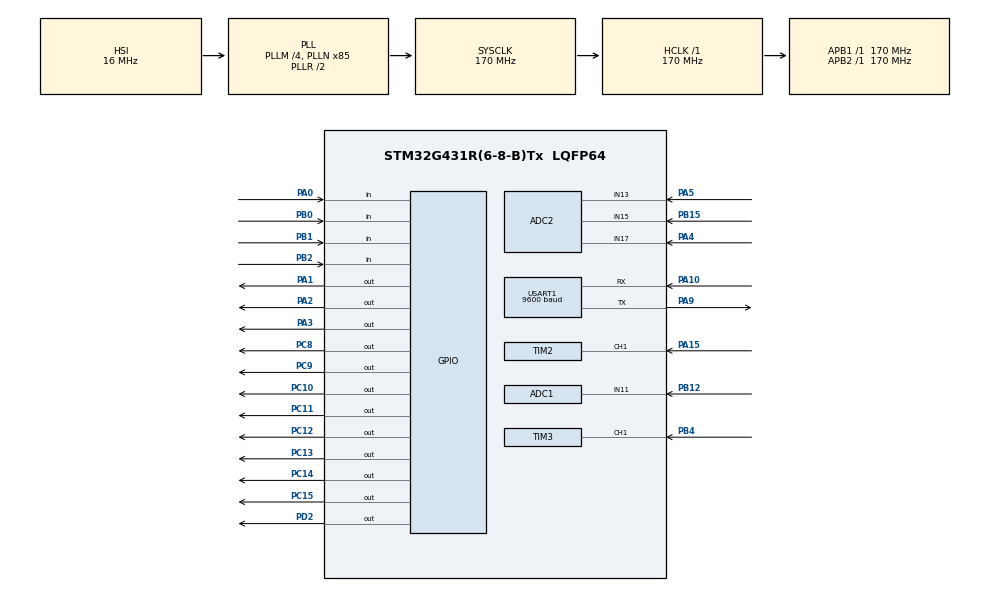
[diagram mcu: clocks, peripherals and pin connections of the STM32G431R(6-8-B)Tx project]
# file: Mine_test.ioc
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ADC1.Channel-0\#ChannelRegularConversion=ADC_CHANNEL_11
ADC1.NbrOfConversionFlag=1
ADC1.OffsetNumber-0\#ChannelRegularConversion=ADC_OFFSET_NONE
ADC1.Rank-0\#ChannelRegularConversion=1
ADC1.SamplingTime-0\#ChannelRegularConversion=ADC_SAMPLETIME_2CYCLES_5
ADC1.master=1
ADC2.Channel-0\#ChannelRegularConversion=ADC_CHANNEL_15
ADC2.Channel-1\#ChannelRegularConversion=ADC_CHANNEL_17
ADC2.Channel-2\#ChannelRegularConversion=ADC_CHANNEL_13
ADC2.DiscontinuousConvMode=ENABLE
ADC2.NbrOfConversion=3
ADC2.NbrOfConversionFlag=1
ADC2.OffsetNumber-0\#ChannelRegularConversion=ADC_OFFSET_NONE
ADC2.OffsetNumber-1\#ChannelRegularConversion=ADC_OFFSET_NONE
ADC2.OffsetNumber-2\#ChannelRegularConversion=ADC_OFFSET_NONE
ADC2.Rank-0\#ChannelRegularConversion=1
ADC2.Rank-1\#ChannelRegularConversion=2
ADC2.Rank-2\#ChannelRegularConversion=3
ADC2.SamplingTime-0\#ChannelRegularConversion=ADC_SAMPLETIME_47CYCLES_5
ADC2.SamplingTime-1\#ChannelRegularConversion=ADC_SAMPLETIME_47CYCLES_5
ADC2.SamplingTime-2\#ChannelRegularConversion=ADC_SAMPLETIME_47CYCLES_5
Mcu.Family=STM32G4
Mcu.Name=STM32G431R(6-8-B)Tx
Mcu.Package=LQFP64
NVIC.PriorityGroup=NVIC_PRIORITYGROUP_4
NVIC.TIM1_UP_TIM16_IRQn=true\:0\:0\:false\:false\:true\:true\:true\:true
NVIC.TIM2_IRQn=true\:0\:0\:false\:false\:true\:true\:true\:true
NVIC.TIM3_IRQn=true\:0\:0\:false\:false\:true\:true\:true\:true
NVIC.USART1_IRQn=true\:0\:0\:false\:false\:true\:true\:true\:true
PA0.Signal=GPIO_Input
PA1.Signal=GPIO_Output
PA10.Mode=Asynchronous
PA10.Signal=USART1_RX
PA13.Mode=Serial_Wire
PA13.Signal=SYS_JTMS-SWDIO
PA14.Mode=Serial_Wire
PA14.Signal=SYS_JTCK-SWCLK
PA15.Signal=S_TIM2_CH1
PA2.Signal=GPIO_Output
PA3.Signal=GPIO_Output
PA4.Mode=IN17-Single-Ended
PA4.Signal=ADC2_IN17
PA5.Mode=IN13-Single-Ended
PA5.Signal=ADC2_IN13
PA9.Mode=Asynchronous
PA9.Signal=USART1_TX
PB0.Signal=GPIO_Input
PB1.Signal=GPIO_Input
PB12.Mode=IN11-Single-Ended
PB12.Signal=ADC1_IN11
PB15.Mode=IN15-Single-Ended
PB15.Signal=ADC2_IN15
PB2.Signal=GPIO_Input
PB4.Signal=S_TIM3_CH1
PC10.Signal=GPIO_Output
PC11.Signal=GPIO_Output
PC12.Signal=GPIO_Output
PC13.Signal=GPIO_Output
PC14-OSC32_IN.Signal=GPIO_Output
PC15-OSC32_OUT.Signal=GPIO_Output
PC8.Signal=GPIO_Output
PC9.Signal=GPIO_Output
PD2.Signal=GPIO_Output
PF0-OSC_IN.Mode=HSE-External-Oscillator
PF0-OSC_IN.Signal=RCC_OSC_IN
PF1-OSC_OUT.Mode=HSE-External-Oscillator
PF1-OSC_OUT.Signal=RCC_OSC_OUT
ProjectManager.HeapSize=0x200
ProjectManager.StackSize=0x400
ProjectManager.TargetToolchain=MDK-ARM V5.32
RCC.ADC12Freq_Value=170000000
RCC.AHBFreq_Value=170000000
RCC.APB1Freq_Value=170000000
RCC.APB1TimFreq_Value=170000000
RCC.APB2Freq_Value=170000000
RCC.APB2TimFreq_Value=170000000
RCC.CortexFreq_Value=170000000
RCC.EXTERNAL_CLOCK_VALUE=12288000
RCC.HCLKFreq_Value=170000000
RCC.HSE_VALUE=24000000
RCC.HSI48_VALUE=48000000
RCC.HSI_VALUE=16000000
RCC.LSE_VALUE=32768
RCC.PLLM=RCC_PLLM_DIV4
RCC.PLLN=85
RCC.SYSCLKFreq_VALUE=170000000
RCC.SYSCLKSource=RCC_SYSCLKSOURCE_PLLCLK
RCC.USBFreq_Value=170000000
RCC.VCOOutputFreq_Value=340000000
SH.S_TIM2_CH1.0=TIM2_CH1,Input_Capture1_from_TI1
SH.S_TIM3_CH1.0=TIM3_CH1,Input_Capture1_from_TI1
TIM1.PeriodNoDither=9999
TIM1.Prescaler=169
TIM2.Channel-Input_Capture1_from_TI1=TIM_CHANNEL_1
TIM2.PeriodNoDither=65535
TIM2.Prescaler=169
TIM3.Channel-Input_Capture1_from_TI1=TIM_CHANNEL_1
TIM3.Prescaler=169
USART1.BaudRate=9600
USART1.VirtualMode-Asynchronous=VM_ASYNC
VP_SYS_VS_DBSignals.Mode=DisableDeadBatterySignals
VP_TIM1_VS_ClockSourceINT.Mode=Internal
board=custom

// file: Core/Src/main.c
/* USER CODE BEGIN Header */
/**
  ******************************************************************************
  * @file           : main.c
  * @brief          : Main program body
  ******************************************************************************
  * @attention
  *
  * Copyright (c) 2023 STMicroelectronics.
  * All rights reserved.
  *
  * This software is licensed under terms that can be found in the LICENSE file
  * in the root directory of this software component.
  * If no LICENSE file comes with this software, it is provided AS-IS.
  *
  ******************************************************************************
  */
/* USER CODE END Header */
#include "main.h"
#include "adc.h"
#include "tim.h"
#include "usart.h"
#include "gpio.h"

/* USER CODE BEGIN Includes */

#include "dht11.h"
#include "ds18b20_hal.h"
#include "i2c_hal.h"
#include "lcd.h"
#include "string.h"
#include "stdio.h"

/* USER CODE END Includes */

/* USER CODE BEGIN PTD */

uint8_t
		line[10][21],
		Flag_interface=0,
		Open_times=0,
		Key_state=0,
		Key_statenz=0,
		Flag_trdo=0,
		Rx_buff,
		TXT[30],
		Flag_dht11read;
float
		Voltage_pb15,
		Voltage_pa4,
		Voltage_pa5,
		Voltage_pb12,
		Temp_ds,
		Temp_dht,
		Humidity_dht,
		Duty_pa6,
		Duty_pa7;
int
		Frequ_pa15,
		Frequ_pb4,
		Frequ_pa1,
		Frequ_pb2,
		Key_presst[4]={0};

uint32_t
		temp;

#define SERH HAL_GPIO_WritePin(GPIOA,GPIO_PIN_1,GPIO_PIN_SET)
#define SERL HAL_GPIO_WritePin(GPIOA,GPIO_PIN_1,GPIO_PIN_RESET)

#define SCKH HAL_GPIO_WritePin(GPIOA,GPIO_PIN_3,GPIO_PIN_SET)
#define SCKL HAL_GPIO_WritePin(GPIOA,GPIO_PIN_3,GPIO_PIN_RESET)

#define RCKH HAL_GPIO_WritePin(GPIOA,GPIO_PIN_2,GPIO_PIN_SET)
#define RCKL HAL_GPIO_WritePin(GPIOA,GPIO_PIN_2,GPIO_PIN_RESET)

uint8_t Nixie_num[]={0x3F,0x06,0x5B,0x4F,0x66,0x6D,0x7D,0x07,0x7F,0x6F,0x77,0x7C,0x39,0x5E,0x79,0x71};
/* USER CODE END PTD */

/* USER CODE BEGIN PV */

uint8_t Key_scan(void)
{
	if(HAL_GPIO_ReadPin(GPIOB,GPIO_PIN_0)==0 && Key_presst[0]>=70){Key_presst[0]++;return 5;}//长按中
	else if(HAL_GPIO_ReadPin(GPIOB,GPIO_PIN_0)==0)Key_presst[0]++;//短按中
	else if(HAL_GPIO_ReadPin(GPIOB,GPIO_PIN_0)==1 && Key_presst[0]>=70){Key_presst[0]=0;return 9;}//长按后松开
	else if(HAL_GPIO_ReadPin(GPIOB,GPIO_PIN_0)==1 && Key_presst[0]>=5){Key_presst[0]=0;return 1;}//短按松开

	else if(HAL_GPIO_ReadPin(GPIOB,GPIO_PIN_1)==0 && Key_presst[1]>=70){Key_presst[1]++;return 6;}//长按中
	else if(HAL_GPIO_ReadPin(GPIOB,GPIO_PIN_1)==0)Key_presst[1]++;//短按中
	else if(HAL_GPIO_ReadPin(GPIOB,GPIO_PIN_1)==1 && Key_presst[1]>=70){Key_presst[1]=0;return 10;}//长按后松开
	else if(HAL_GPIO_ReadPin(GPIOB,GPIO_PIN_1)==1 && Key_presst[1]>=5){Key_presst[1]=0;return 2;}//短按松开

	else if(HAL_GPIO_ReadPin(GPIOB,GPIO_PIN_2)==0 && Key_presst[2]>=70){Key_presst[2]++;return 7;}//长按中
	else if(HAL_GPIO_ReadPin(GPIOB,GPIO_PIN_2)==0)Key_presst[2]++;//短按中
	else if(HAL_GPIO_ReadPin(GPIOB,GPIO_PIN_2)==1 && Key_presst[2]>=70){Key_presst[2]=0;return 11;}//长按后松开
	else if(HAL_GPIO_ReadPin(GPIOB,GPIO_PIN_2)==1 && Key_presst[2]>=5){Key_presst[2]=0;return 3;}//短按松开

	else if(HAL_GPIO_ReadPin(GPIOA,GPIO_PIN_0)==0 && Key_presst[3]>=70){Key_presst[3]++;return 8;}//长按中
	else if(HAL_GPIO_ReadPin(GPIOA,GPIO_PIN_0)==0)Key_presst[3]++;//短按中
	else if(HAL_GPIO_ReadPin(GPIOA,GPIO_PIN_0)==1 && Key_presst[3]>=70){Key_presst[3]=0;return 12;}//长按后松开
	else if(HAL_GPIO_ReadPin(GPIOA,GPIO_PIN_0)==1 && Key_presst[3]>=5){Key_presst[3]=0;return 4;}//短按松开
	else {Key_presst[0]=0,Key_presst[1]=0,Key_presst[2]=0,Key_presst[3]=0;}
	return 0;
}

void Lcd_dis(void)
{
	for(char i=0;i<10;i++)
	LCD_DisplayStringLine(i*24,line[i]);
}

void Data_interface(void)
{
	sprintf((char *)line[0],"Temp:%dC,Humo:%d%%    ",((temp >> 8) & 0xff),(temp >> 24));
	sprintf((char *)line[1],"Open_times:%d         ",Open_times);
	sprintf((char *)line[2],"keystate:%d           ",Key_state);
	sprintf((char *)line[3],"Key_statenz:%d        ",Key_statenz);
	sprintf((char *)line[4],"Voltage_pb12:%.2f     ",Voltage_pb12);

	sprintf((char *)line[5],"Voltage_pb15:%.2f     ",Voltage_pb15);
	sprintf((char *)line[6],"Voltage_pa4:%.2f      ",Voltage_pa4);
	sprintf((char *)line[7],"Voltage_pa5:%.2f      ",Voltage_pa5);
	sprintf((char *)line[8],"temp_ds:%.2f          ",Read_temp());
	sprintf((char *)line[9],"%dHz      %dHz        ",Frequ_pb4,Frequ_pa15);
}

void Para_interface(void)
{
	sprintf((char *)line[0],"                    ");
	sprintf((char *)line[1],"                    ");
	sprintf((char *)line[2],"Duty_pa6:%.2f               ",Duty_pa6);
	sprintf((char *)line[3],"Duty_pa7:%.2f               ",Duty_pa7);
	sprintf((char *)line[4],"                    ");

	sprintf((char *)line[5],"                    ");
	sprintf((char *)line[6],"                    ");
	sprintf((char *)line[7],"                    ");
	sprintf((char *)line[8],"                    ");
	sprintf((char *)line[9],"                    ");
}

void Highlight_dis(uint8_t linenum)
{
	char i=0;
	for(;i<linenum;i++)
	LCD_DisplayStringLine(i*24,(uint8_t *)"                    ");
	LCD_SetBackColor(Yellow);
	LCD_DisplayStringLine(i*24,(uint8_t *)"                    ");
	LCD_SetBackColor(White);
	for(i++;i<10;i++)
	LCD_DisplayStringLine(i*24,(uint8_t *)"                    ");
}

void Write_rom(uint8_t add,uint8_t value)
{
	I2CStart();
	I2CSendByte(0xa0);
	I2CWaitAck();

	I2CSendByte(add);
	I2CWaitAck();

	I2CSendByte(value);
	I2CWaitAck();
	I2CStop();
}

uint8_t Read_rom(uint8_t add)
{
	uint8_t value;

	I2CStart();
	I2CSendByte(0xa0);
	I2CWaitAck();

	I2CSendByte(add);
	I2CWaitAck();

	I2CStart();
	I2CSendByte(0xa1);
	I2CWaitAck();

	value=I2CReceiveByte();
	I2CWaitAck();
	I2CStop();

	return value;
}

void Nixie_dis(uint8_t a,uint8_t b,uint8_t c)
{
	int value=(Nixie_num[c]<<16)+(Nixie_num[b]<<8)+(Nixie_num[a]);
	for(char i=0;i<24;i++)
	{
		if(value & 0x800000)
			SERH;
		else
			SERL;
		SCKH;
		SCKL;
		value<<=1;
	}
	RCKH;
	RCKL;
}

float Get_adc1(void)
{
	float value;
	value=HAL_ADC_GetValue(&hadc1);
	HAL_ADC_Start_IT(&hadc1);
	return value*3.3f/4096;
}

float Get_adc2(void)
{
	float value;
	value=HAL_ADC_GetValue(&hadc2);
	HAL_ADC_Start_IT(&hadc2);
	return value*3.3f/4096;
}

void HAL_TIM_IC_CaptureCallback(TIM_HandleTypeDef *htim)
{
	static int
		Tim3_ch1value1st,Tim3_ch1value2nd,Tim3_ch1state=0,Tim3_ch1T,
		Tim2_ch1value1st,Tim2_ch1value2nd,Tim2_ch1state=0,Tim2_ch1T;
	if(htim==&htim2 && htim->Channel==HAL_TIM_ACTIVE_CHANNEL_1)
	{
		if(Tim2_ch1state==0)Tim2_ch1value1st=HAL_TIM_ReadCapturedValue(&htim2,TIM_CHANNEL_1),Tim2_ch1state=1;
		else if(Tim2_ch1state==1)
		{
			Tim2_ch1value2nd=HAL_TIM_ReadCapturedValue(&htim2,TIM_CHANNEL_1);
			if(Tim2_ch1value2nd>Tim2_ch1value1st)Tim2_ch1T=Tim2_ch1value2nd-Tim2_ch1value1st;
			else Tim2_ch1T=Tim2_ch1value2nd-Tim2_ch1value1st+65535;
			Frequ_pb4=1000000/Tim2_ch1T;
			Tim2_ch1state=0;
		}
	}
	if(htim==&htim3 && htim->Channel==HAL_TIM_ACTIVE_CHANNEL_1)
	{
		if(Tim3_ch1state==0)Tim3_ch1value1st=HAL_TIM_ReadCapturedValue(&htim3,TIM_CHANNEL_1),Tim3_ch1state=1;
		else if(Tim3_ch1state==1)
		{
			Tim3_ch1value2nd=HAL_TIM_ReadCapturedValue(&htim3,TIM_CHANNEL_1);
			if(Tim3_ch1value2nd>Tim3_ch1value1st)Tim3_ch1T=Tim3_ch1value2nd-Tim3_ch1value1st;
			else Tim3_ch1T=Tim3_ch1value2nd-Tim3_ch1value1st+65535;
			Frequ_pa15=1000000/Tim3_ch1T;
			Tim3_ch1state=0;
		}
	}
}

/* USER CODE END PV */

void SystemClock_Config(void);

/* USER CODE BEGIN 0 */

void HAL_UART_RxCpltCallback(UART_HandleTypeDef *huart)
{
	if(huart==&huart1)
	{
		HAL_UART_Receive_IT(&huart1,&Rx_buff,1);
		HAL_UART_Transmit_IT(&huart1,&Rx_buff,1);
	}
}

void HAL_TIM_PeriodElapsedCallback(TIM_HandleTypeDef *htim)
{
	static uint8_t dht11t=0,adct=0;
	if(htim==&htim1)
	{
		Key_state=Key_scan();
		if(Key_state)
		Key_statenz=Key_state;
		if(++dht11t>=20)Flag_dht11read=1,dht11t=0;
//		if(++adct==5)Voltage_pa4=Get_adc2(),Voltage_pb12=Get_adc1();
//		if(adct==10)Voltage_pb15=Get_adc2();
//		if(adct==15)Voltage_pa5=Get_adc2(),adct=0;
	}
}

/* USER CODE END 0 */

int main(void)
{

  /* MCU Configuration--------------------------------------------------------*/

  /* Reset of all peripherals, Initializes the Flash interface and the Systick. */
  HAL_Init();

  /* Configure the system clock */
  SystemClock_Config();

  /* Initialize all configured peripherals */
  MX_GPIO_Init();
  MX_ADC2_Init();
  MX_ADC1_Init();
  MX_TIM1_Init();
  MX_TIM2_Init();
  MX_TIM3_Init();
  MX_USART1_UART_Init();
  /* USER CODE BEGIN 2 */
	ds18b20_init_x();
	dht11_init();
	I2CInit();
	HAL_UART_Receive_IT(&huart1,&Rx_buff,1);
	HAL_TIM_IC_Start_IT(&htim2,TIM_CHANNEL_1);
	HAL_TIM_IC_Start_IT(&htim3,TIM_CHANNEL_1);
	HAL_TIM_Base_Start_IT(&htim1);
	LCD_Init();
	LCD_SetBackColor(Blue);
	LCD_SetTextColor(White);
	Open_times=Read_rom(0);
	HAL_Delay(5);
	Write_rom(0,++Open_times);
	HAL_Delay(5);
  /* USER CODE END 2 */

  /* Infinite loop */
  while (1)
  {

    /* USER CODE BEGIN 3 */
		if(Flag_dht11read)
		{
			Flag_dht11read=0;
			temp = dht11_read();
		}
		Data_interface();
		Lcd_dis();
		Nixie_dis(1,10,14);
  }
  /* USER CODE END 3 */
}

void SystemClock_Config(void)
{
  RCC_OscInitTypeDef RCC_OscInitStruct = {0};
  RCC_ClkInitTypeDef RCC_ClkInitStruct = {0};

  /** Configure the main internal regulator output voltage
  */
  HAL_PWREx_ControlVoltageScaling(PWR_REGULATOR_VOLTAGE_SCALE1_BOOST);

  /** Initializes the RCC Oscillators according to the specified parameters
  * in the RCC_OscInitTypeDef structure.
  */
  RCC_OscInitStruct.OscillatorType = RCC_OSCILLATORTYPE_HSI;
  RCC_OscInitStruct.HSIState = RCC_HSI_ON;
  RCC_OscInitStruct.HSICalibrationValue = RCC_HSICALIBRATION_DEFAULT;
  RCC_OscInitStruct.PLL.PLLState = RCC_PLL_ON;
  RCC_OscInitStruct.PLL.PLLSource = RCC_PLLSOURCE_HSI;
  RCC_OscInitStruct.PLL.PLLM = RCC_PLLM_DIV4;
  RCC_OscInitStruct.PLL.PLLN = 85;
  RCC_OscInitStruct.PLL.PLLP = RCC_PLLP_DIV2;
  RCC_OscInitStruct.PLL.PLLQ = RCC_PLLQ_DIV2;
  RCC_OscInitStruct.PLL.PLLR = RCC_PLLR_DIV2;
  if (HAL_RCC_OscConfig(&RCC_OscInitStruct) != HAL_OK)
  {
    Error_Handler();
  }

  /** Initializes the CPU, AHB and APB buses clocks
  */
  RCC_ClkInitStruct.ClockType = RCC_CLOCKTYPE_HCLK|RCC_CLOCKTYPE_SYSCLK
                              |RCC_CLOCKTYPE_PCLK1|RCC_CLOCKTYPE_PCLK2;
  RCC_ClkInitStruct.SYSCLKSource = RCC_SYSCLKSOURCE_PLLCLK;
  RCC_ClkInitStruct.AHBCLKDivider = RCC_SYSCLK_DIV1;
  RCC_ClkInitStruct.APB1CLKDivider = RCC_HCLK_DIV1;
  RCC_ClkInitStruct.APB2CLKDivider = RCC_HCLK_DIV1;

  if (HAL_RCC_ClockConfig(&RCC_ClkInitStruct, FLASH_LATENCY_4) != HAL_OK)
  {
    Error_Handler();
  }
}

void Error_Handler(void)
{
  __disable_irq();
  while (1)
  {
  }
}
